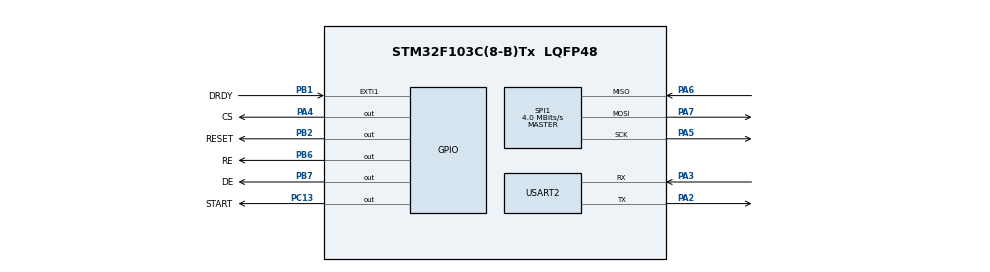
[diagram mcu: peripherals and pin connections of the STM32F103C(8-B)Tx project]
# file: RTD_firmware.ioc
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Dma.Request0=USART2_RX
Dma.USART2_RX.0.Direction=DMA_PERIPH_TO_MEMORY
Dma.USART2_RX.0.Instance=DMA1_Channel6
Dma.USART2_RX.0.MemDataAlignment=DMA_MDATAALIGN_BYTE
Dma.USART2_RX.0.MemInc=DMA_MINC_ENABLE
Dma.USART2_RX.0.Mode=DMA_NORMAL
Dma.USART2_RX.0.PeriphDataAlignment=DMA_PDATAALIGN_BYTE
Dma.USART2_RX.0.PeriphInc=DMA_PINC_DISABLE
Dma.USART2_RX.0.Priority=DMA_PRIORITY_LOW
Mcu.Family=STM32F1
Mcu.Name=STM32F103C(8-B)Tx
Mcu.Package=LQFP48
NVIC.DMA1_Channel6_IRQn=true\:0\:0\:false\:false\:true\:false\:true\:true
NVIC.EXTI1_IRQn=true\:0\:0\:false\:false\:true\:true\:true\:true
NVIC.PriorityGroup=NVIC_PRIORITYGROUP_4
PA13.Mode=Serial_Wire
PA13.Signal=SYS_JTMS-SWDIO
PA14.Mode=Serial_Wire
PA14.Signal=SYS_JTCK-SWCLK
PA2.Mode=Asynchronous
PA2.Signal=USART2_TX
PA3.Mode=Asynchronous
PA3.Signal=USART2_RX
PA4.GPIO_Label=CS
PA4.Signal=GPIO_Output
PA5.Mode=Full_Duplex_Master
PA5.Signal=SPI1_SCK
PA6.Mode=Full_Duplex_Master
PA6.Signal=SPI1_MISO
PA7.Mode=Full_Duplex_Master
PA7.Signal=SPI1_MOSI
PB1.GPIO_Label=DRDY
PB1.GPIO_ModeDefaultEXTI=GPIO_MODE_IT_FALLING
PB1.Signal=GPXTI1
PB2.GPIO_Label=RESET
PB2.Signal=GPIO_Output
PB6.GPIO_Label=RE
PB6.Signal=GPIO_Output
PB7.GPIO_Label=DE
PB7.Signal=GPIO_Output
PC13-TAMPER-RTC.GPIO_Label=START
PC13-TAMPER-RTC.Signal=GPIO_Output
ProjectManager.HeapSize=0x200
ProjectManager.StackSize=0x400
ProjectManager.TargetToolchain=STM32CubeIDE
RCC.APB1Freq_Value=8000000
RCC.APB2Freq_Value=8000000
SPI1.CalculateBaudRate=4.0 MBits/s
SPI1.Direction=SPI_DIRECTION_2LINES
SPI1.Mode=SPI_MODE_MASTER
SPI1.VirtualType=VM_MASTER
USART2.VirtualMode=VM_ASYNC
board=custom

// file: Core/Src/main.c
/* USER CODE BEGIN Header */
/**
  ******************************************************************************
  * @file           : main.c
  * @brief          : Main program body
  ******************************************************************************
  * @attention
  *
  * Copyright (c) 2025 STMicroelectronics.
  * All rights reserved.
  *
  * This software is licensed under terms that can be found in the LICENSE file
  * in the root directory of this software component.
  * If no LICENSE file comes with this software, it is provided AS-IS.
  *
  ******************************************************************************
  */
/* USER CODE END Header */
#include "main.h"

/* USER CODE BEGIN Includes */
#include <stm32f1xx_hal.h>
#include "ADS1248.h"
#include <stdio.h>
#include "modbus.h"
/* USER CODE END Includes */

/* USER CODE BEGIN PD */
#define MB_RX_BUF_SIZE 256
#define MB_TX_BUF_SIZE 256
/* USER CODE END PD */

SPI_HandleTypeDef hspi1;

UART_HandleTypeDef huart2;
DMA_HandleTypeDef hdma_usart2_rx;

/* USER CODE BEGIN PV */
uint8_t drdy_flag = 0;
uint8_t transfer_complete = 0;
volatile uint16_t modbus_rx_len = 0;
uint8_t mb_rx_buffer[MB_RX_BUF_SIZE];
uint8_t mb_tx_buffer[MB_TX_BUF_SIZE];
uint16_t modbusInputRegisters[0];
uint8_t status;
float temp;

/* USER CODE END PV */

void SystemClock_Config(void);
static void MX_GPIO_Init(void);
static void MX_DMA_Init(void);
static void MX_SPI1_Init(void);
static void MX_USART2_UART_Init(void);

/* USER CODE BEGIN 0 */
void HAL_GPIO_EXTI_Callback(uint16_t GPIO_Pin)
{
  if (GPIO_Pin == DRDY_Pin) {   // Your DRDY pin
   drdy_flag = 1;
  }
}

void RS485_SetTransmit(void) {
  HAL_GPIO_WritePin(DE_GPIO_Port, DE_Pin, GPIO_PIN_SET); // TX enable
}

void RS485_SetReceive(void) {
  HAL_GPIO_WritePin(RE_GPIO_Port, RE_Pin, GPIO_PIN_RESET); // RX enable
}

void HAL_UART_IDLE_Callback(UART_HandleTypeDef *huart)
{
    if (huart->Instance == USART2) {
        __HAL_UART_CLEAR_IDLEFLAG(&huart2);

        // Calculate number of bytes received
        modbus_rx_len = MB_RX_BUF_SIZE - __HAL_DMA_GET_COUNTER(huart->hdmarx);
        // Stop DMA to freeze NDTR count
        HAL_UART_DMAStop(&huart2);
        transfer_complete = 1;
    }
}

/* USER CODE END 0 */

int main(void)
{

  /* MCU Configuration--------------------------------------------------------*/

  /* Reset of all peripherals, Initializes the Flash interface and the Systick. */
  HAL_Init();

  /* Configure the system clock */
  SystemClock_Config();

  /* Initialize all configured peripherals */
  MX_GPIO_Init();
  MX_DMA_Init();
  MX_SPI1_Init();
  MX_USART2_UART_Init();
  /* USER CODE BEGIN 2 */
  ADS124X_init(&hspi1, START_GPIO_Port, START_Pin, GPIOA, GPIO_PIN_14);

  // Start DMA reception
  HAL_UART_Receive_DMA(&huart2, mb_rx_buffer, MB_RX_BUF_SIZE);

  //enable IDLE line detection interrupt
  __HAL_UART_ENABLE_IT(&huart2, UART_IT_IDLE);

  /* USER CODE END 2 */

  /* Infinite loop */
  /* USER CODE BEGIN WHILE */
  while (1)
  {
	  if(drdy_flag == 1){
		  float temp = Temperature(&hspi1, GPIOA, GPIO_PIN_14);
		  modbusInputRegisters[0] = (uint16_t)(temp * 100); // Convert to integer
		  drdy_flag = 0;
	  }

	  if(transfer_complete){
		  // Process the Modbus frame
		  status = ProcessModbusFrame(mb_rx_buffer, modbus_rx_len, mb_tx_buffer, modbusInputRegisters);
		  if (status == CRC_ERROR){
			  // discard message
		  }
		  if ((status != 0) && (status != CRC_ERROR)){
			  Modbus_SendException(mb_rx_buffer[1], mb_tx_buffer, status);

			  RS485_SetTransmit();
			  HAL_Delay(1);  // small delay (~1ms)
			  HAL_UART_Transmit(&huart2, mb_tx_buffer, 5, HAL_MAX_DELAY);
			  RS485_SetReceive();
		  }
		  else {
			  RS485_SetTransmit();
			  HAL_Delay(1);  // small delay (~1ms)
			  HAL_UART_Transmit(&huart2, mb_tx_buffer, 7, HAL_MAX_DELAY);
			  RS485_SetReceive();
		  }
		  // Restart DMA reception for the next frame
		  modbus_rx_len = 0;
		  transfer_complete = 0;
		  HAL_UART_Receive_DMA(&huart2, mb_rx_buffer, MB_RX_BUF_SIZE);
	  }
    /* USER CODE END WHILE */

  }
}

void SystemClock_Config(void)
{
  RCC_OscInitTypeDef RCC_OscInitStruct = {0};
  RCC_ClkInitTypeDef RCC_ClkInitStruct = {0};

  /** Initializes the RCC Oscillators according to the specified parameters
  * in the RCC_OscInitTypeDef structure.
  */
  RCC_OscInitStruct.OscillatorType = RCC_OSCILLATORTYPE_HSI;
  RCC_OscInitStruct.HSIState = RCC_HSI_ON;
  RCC_OscInitStruct.HSICalibrationValue = RCC_HSICALIBRATION_DEFAULT;
  RCC_OscInitStruct.PLL.PLLState = RCC_PLL_NONE;
  if (HAL_RCC_OscConfig(&RCC_OscInitStruct) != HAL_OK)
  {
    Error_Handler();
  }

  /** Initializes the CPU, AHB and APB buses clocks
  */
  RCC_ClkInitStruct.ClockType = RCC_CLOCKTYPE_HCLK|RCC_CLOCKTYPE_SYSCLK
                              |RCC_CLOCKTYPE_PCLK1|RCC_CLOCKTYPE_PCLK2;
  RCC_ClkInitStruct.SYSCLKSource = RCC_SYSCLKSOURCE_HSI;
  RCC_ClkInitStruct.AHBCLKDivider = RCC_SYSCLK_DIV1;
  RCC_ClkInitStruct.APB1CLKDivider = RCC_HCLK_DIV1;
  RCC_ClkInitStruct.APB2CLKDivider = RCC_HCLK_DIV1;

  if (HAL_RCC_ClockConfig(&RCC_ClkInitStruct, FLASH_LATENCY_0) != HAL_OK)
  {
    Error_Handler();
  }
}

static void MX_SPI1_Init(void)
{

  /* SPI1 parameter configuration*/
  hspi1.Instance = SPI1;
  hspi1.Init.Mode = SPI_MODE_MASTER;
  hspi1.Init.Direction = SPI_DIRECTION_2LINES;
  hspi1.Init.DataSize = SPI_DATASIZE_8BIT;
  hspi1.Init.CLKPolarity = SPI_POLARITY_LOW;
  hspi1.Init.CLKPhase = SPI_PHASE_1EDGE;
  hspi1.Init.NSS = SPI_NSS_SOFT;
  hspi1.Init.BaudRatePrescaler = SPI_BAUDRATEPRESCALER_2;
  hspi1.Init.FirstBit = SPI_FIRSTBIT_MSB;
  hspi1.Init.TIMode = SPI_TIMODE_DISABLE;
  hspi1.Init.CRCCalculation = SPI_CRCCALCULATION_DISABLE;
  hspi1.Init.CRCPolynomial = 10;
  if (HAL_SPI_Init(&hspi1) != HAL_OK)
  {
    Error_Handler();
  }

}

static void MX_USART2_UART_Init(void)
{

  huart2.Instance = USART2;
  huart2.Init.BaudRate = 115200;
  huart2.Init.WordLength = UART_WORDLENGTH_8B;
  huart2.Init.StopBits = UART_STOPBITS_1;
  huart2.Init.Parity = UART_PARITY_NONE;
  huart2.Init.Mode = UART_MODE_TX_RX;
  huart2.Init.HwFlowCtl = UART_HWCONTROL_NONE;
  huart2.Init.OverSampling = UART_OVERSAMPLING_16;
  if (HAL_UART_Init(&huart2) != HAL_OK)
  {
    Error_Handler();
  }

}

static void MX_DMA_Init(void)
{

  /* DMA controller clock enable */
  __HAL_RCC_DMA1_CLK_ENABLE();

  /* DMA interrupt init */
  /* DMA1_Channel6_IRQn interrupt configuration */
  HAL_NVIC_SetPriority(DMA1_Channel6_IRQn, 0, 0);
  HAL_NVIC_EnableIRQ(DMA1_Channel6_IRQn);

}

static void MX_GPIO_Init(void)
{
  GPIO_InitTypeDef GPIO_InitStruct = {0};

  /* GPIO Ports Clock Enable */
  __HAL_RCC_GPIOC_CLK_ENABLE();
  __HAL_RCC_GPIOA_CLK_ENABLE();
  __HAL_RCC_GPIOB_CLK_ENABLE();

  /*Configure GPIO pin Output Level */
  HAL_GPIO_WritePin(START_GPIO_Port, START_Pin, GPIO_PIN_RESET);

  /*Configure GPIO pin Output Level */
  HAL_GPIO_WritePin(CS_GPIO_Port, CS_Pin, GPIO_PIN_RESET);

  /*Configure GPIO pin Output Level */
  HAL_GPIO_WritePin(GPIOB, RESET_Pin|RE_Pin|DE_Pin, GPIO_PIN_RESET);

  /*Configure GPIO pin : START_Pin */
  GPIO_InitStruct.Pin = START_Pin;
  GPIO_InitStruct.Mode = GPIO_MODE_OUTPUT_PP;
  GPIO_InitStruct.Pull = GPIO_NOPULL;
  GPIO_InitStruct.Speed = GPIO_SPEED_FREQ_LOW;
  HAL_GPIO_Init(START_GPIO_Port, &GPIO_InitStruct);

  /*Configure GPIO pin : CS_Pin */
  GPIO_InitStruct.Pin = CS_Pin;
  GPIO_InitStruct.Mode = GPIO_MODE_OUTPUT_PP;
  GPIO_InitStruct.Pull = GPIO_NOPULL;
  GPIO_InitStruct.Speed = GPIO_SPEED_FREQ_LOW;
  HAL_GPIO_Init(CS_GPIO_Port, &GPIO_InitStruct);

  /*Configure GPIO pin : DRDY_Pin */
  GPIO_InitStruct.Pin = DRDY_Pin;
  GPIO_InitStruct.Mode = GPIO_MODE_IT_FALLING;
  GPIO_InitStruct.Pull = GPIO_NOPULL;
  HAL_GPIO_Init(DRDY_GPIO_Port, &GPIO_InitStruct);

  /*Configure GPIO pins : RESET_Pin RE_Pin DE_Pin */
  GPIO_InitStruct.Pin = RESET_Pin|RE_Pin|DE_Pin;
  GPIO_InitStruct.Mode = GPIO_MODE_OUTPUT_PP;
  GPIO_InitStruct.Pull = GPIO_NOPULL;
  GPIO_InitStruct.Speed = GPIO_SPEED_FREQ_LOW;
  HAL_GPIO_Init(GPIOB, &GPIO_InitStruct);

  /* EXTI interrupt init*/
  HAL_NVIC_SetPriority(EXTI1_IRQn, 0, 0);
  HAL_NVIC_EnableIRQ(EXTI1_IRQn);

}

void Error_Handler(void)
{
  __disable_irq();
  while (1)
  {
  }
}
